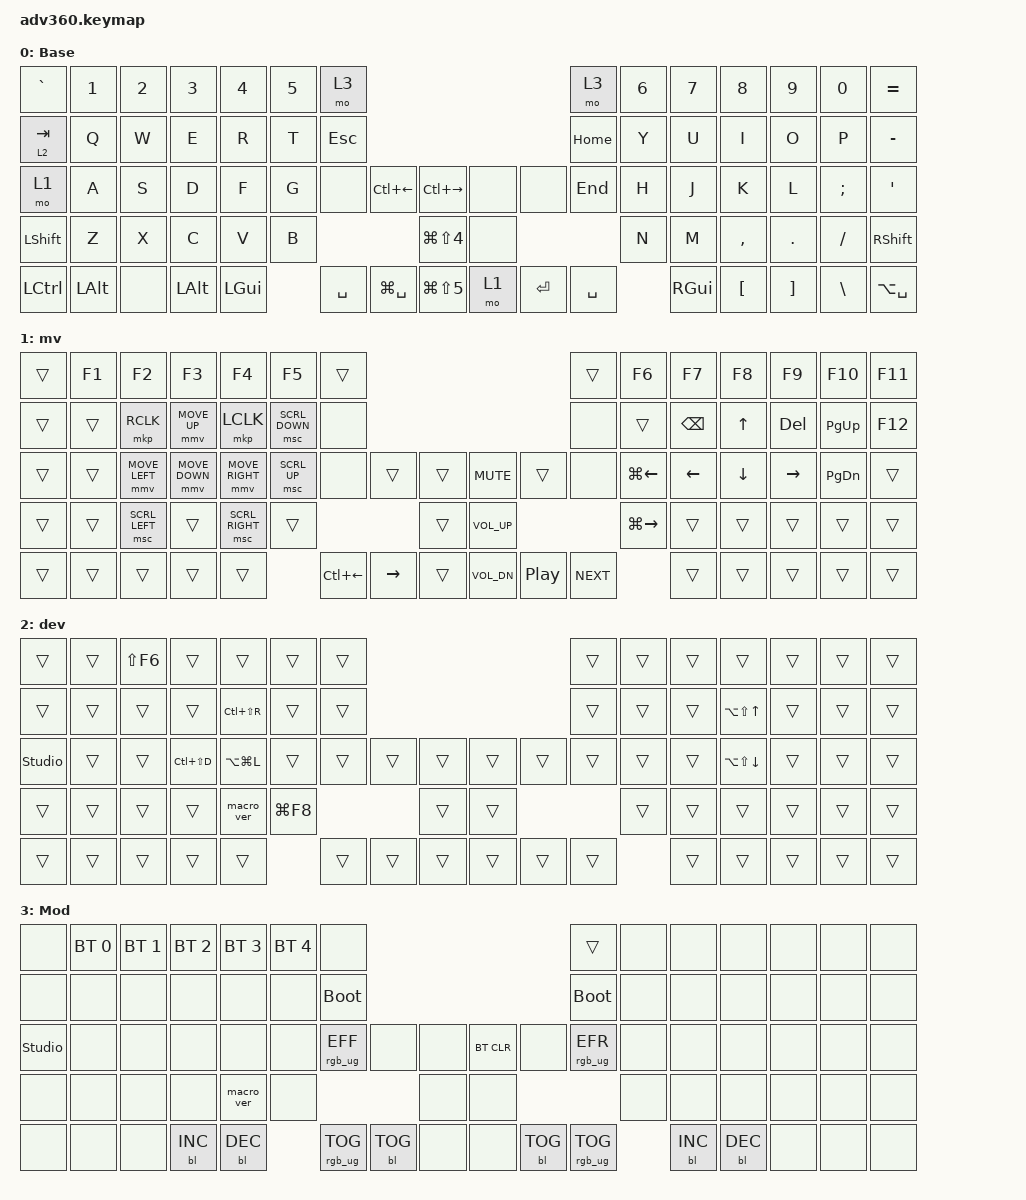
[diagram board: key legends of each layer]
#include <dt-bindings/zmk/stp.h>
#include <behaviors.dtsi>
#include <dt-bindings/zmk/backlight.h>
#include <dt-bindings/zmk/bt.h>
#include <dt-bindings/zmk/keys.h>
#include <dt-bindings/zmk/pointing.h>
#include <dt-bindings/zmk/rgb.h>

/ {
    behaviors {
        #include "macros.dtsi"
      #include "version.dtsi"
      #ifndef VERSION_MACRO

        macro_ver: macro_ver {
            compatible = "zmk,behavior-macro";
            label = "macro_version";
            #binding-cells = <0>;
            bindings = <&kp RET>;
        };

        #endif

        hm: homerow_mods {
            compatible = "zmk,behavior-hold-tap";
            label = "HOMEROW_MODS";
            #binding-cells = <2>;
            tapping-term-ms = <200>;
            quick_tap_ms = <175>;
            flavor = "tap-preferred";
            bindings = <&kp>, <&kp>;
        };
    };

    macros {
    };

    keymap {
        compatible = "zmk,keymap";

        default_layer {
            display-name = "Base";
            bindings = <
&kp GRAVE         &kp N1        &kp N2  &kp N3        &kp N4        &kp N5  &mo 3                                                                      &mo 3      &kp N6  &kp N7         &kp N8            &kp N9             &kp N0         &kp EQUAL
&lt 2 TAB         &kp Q         &kp W   &kp E         &kp R         &kp T   &kp ESC                                                                    &kp HOME   &kp Y   &kp U          &kp I             &kp O              &kp P          &kp MINUS
&mo 1             &kp A         &kp S   &kp D         &kp F         &kp G   &none      &kp LC(LEFT_ARROW)  &kp LC(RIGHT_ARROW)       &none  &none      &kp END    &kp H   &kp J          &kp K             &kp L              &kp SEMI       &kp SQT
&kp LSHFT         &kp Z         &kp X   &kp C         &kp V         &kp B                                  &kp LG(LS(NUMBER_4))      &none                        &kp N   &kp M          &kp COMMA         &kp DOT            &kp FSLH       &kp RSHFT
&kp LEFT_CONTROL  &kp LEFT_ALT  &none   &kp LEFT_ALT  &kp LEFT_GUI          &kp SPACE  &kp LG(SPACE)       &kp LG(LS(NUMBER_5))      &mo 1  &kp ENTER  &kp SPACE          &kp RIGHT_GUI  &kp LEFT_BRACKET  &kp RIGHT_BRACKET  &kp BACKSLASH  &kp LA(SPACE)
            >;
        };

        move {
            display-name = "mv";
            bindings = <
&trans  &kp F1  &kp F2          &kp F3          &kp F4           &kp F5          &trans                                                                   &trans      &kp F6               &kp F7          &kp F8          &kp F9           &kp F10      &kp F11
&trans  &trans  &mkp RCLK       &mmv MOVE_UP    &mkp LCLK        &msc SCRL_DOWN  &none                                                                    &none       &trans               &kp BACKSPACE   &kp UP_ARROW    &kp DEL          &kp PAGE_UP  &kp F12
&trans  &trans  &mmv MOVE_LEFT  &mmv MOVE_DOWN  &mmv MOVE_RIGHT  &msc SCRL_UP    &none               &trans           &trans      &kp C_MUTE    &trans    &none       &kp LG(LEFT_ARROW)   &kp LEFT_ARROW  &kp DOWN_ARROW  &kp RIGHT_ARROW  &kp PG_DN    &trans
&trans  &trans  &msc SCRL_LEFT  &trans          &msc SCRL_RIGHT  &trans                                               &trans      &kp C_VOL_UP                        &kp LG(RIGHT_ARROW)  &trans          &trans          &trans           &trans       &trans
&trans  &trans  &trans          &trans          &trans                           &kp LC(LEFT_ARROW)  &kp RIGHT_ARROW  &trans      &kp C_VOL_DN  &kp C_PP  &kp C_NEXT                       &trans          &trans          &trans           &trans       &trans
            >;
        };

        dev {
            display-name = "dev";
            bindings = <
&trans          &trans  &kp LS(F6)  &trans         &trans         &trans      &trans                                      &trans  &trans  &trans  &trans                  &trans  &trans  &trans
&trans          &trans  &trans      &trans         &kp LC(LS(R))  &trans      &trans                                      &trans  &trans  &trans  &kp LA(LS(UP_ARROW))    &trans  &trans  &trans
&studio_unlock  &trans  &trans      &kp LC(LS(D))  &kp LA(LG(L))  &trans      &trans  &trans  &trans      &trans  &trans  &trans  &trans  &trans  &kp LA(LS(DOWN_ARROW))  &trans  &trans  &trans
&trans          &trans  &trans      &trans         &macro_ver     &kp LG(F8)                  &trans      &trans                  &trans  &trans  &trans                  &trans  &trans  &trans
&trans          &trans  &trans      &trans         &trans                     &trans  &trans  &trans      &trans  &trans  &trans          &trans  &trans                  &trans  &trans  &trans
            >;
        };

        mod {
            display-name = "Mod";
            bindings = <
&none           &bt BT_SEL 0  &bt BT_SEL 1  &bt BT_SEL 2  &bt BT_SEL 3  &bt BT_SEL 4  &none                                                           &trans           &none  &none       &none       &none  &none  &none
&none           &none         &none         &none         &none         &none         &bootloader                                                     &bootloader      &none  &none       &none       &none  &none  &none
&studio_unlock  &none         &none         &none         &none         &none         &rgb_ug RGB_EFF  &none       &none      &bt BT_CLR  &none       &rgb_ug RGB_EFR  &none  &none       &none       &none  &none  &none
&none           &none         &none         &none         &macro_ver    &none                                      &none      &none                                    &none  &none       &none       &none  &none  &none
&none           &none         &none         &bl BL_INC    &bl BL_DEC                  &rgb_ug RGB_TOG  &bl BL_TOG  &none      &none       &bl BL_TOG  &rgb_ug RGB_TOG         &bl BL_INC  &bl BL_DEC  &none  &none  &none
            >;
        };
    };
};
